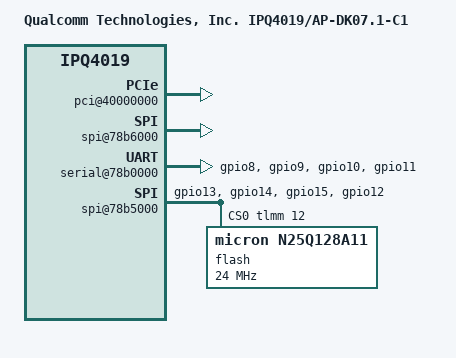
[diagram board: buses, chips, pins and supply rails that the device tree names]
// SPDX-License-Identifier: GPL-2.0
// Copyright (c) 2018, The Linux Foundation. All rights reserved.

#include <dt-bindings/gpio/gpio.h>
#include "qcom-ipq4019-ap.dk07.1.dtsi"

/ {
	model = "Qualcomm Technologies, Inc. IPQ4019/AP-DK07.1-C1";
	compatible = "qcom,ipq4019-ap-dk07.1-c1", "qcom,ipq4019";

	soc {
		pci@40000000 {
			status = "okay";
			perst-gpios = <&tlmm 38 GPIO_ACTIVE_LOW>;
		};

		spi@78b6000 {
			status = "okay";
		};

		pinctrl@1000000 {
			serial_1_pins: serial1-state {
				pins = "gpio8", "gpio9",
					"gpio10", "gpio11";
				function = "blsp_uart1";
				bias-disable;
			};

			spi_0_pins: spi-0-state {
				spi0-pins {
					function = "blsp_spi0";
					pins = "gpio13", "gpio14", "gpio15";
					bias-disable;
				};
				spio-cs-pins {
					function = "gpio";
					pins = "gpio12";
					bias-disable;
					output-high;
				};
			};
		};

		serial@78b0000 {
			pinctrl-0 = <&serial_1_pins>;
			pinctrl-names = "default";
			status = "okay";
		};

		spi@78b5000 {
			pinctrl-0 = <&spi_0_pins>;
			pinctrl-names = "default";
			status = "okay";
			cs-gpios = <&tlmm 12 GPIO_ACTIVE_HIGH>;

			flash@0 {
				#address-cells = <1>;
				#size-cells = <1>;
				reg = <0>;
				compatible = "micron,n25q128a11", "jedec,spi-nor";
				spi-max-frequency = <24000000>;
			};
		};
	};
};
